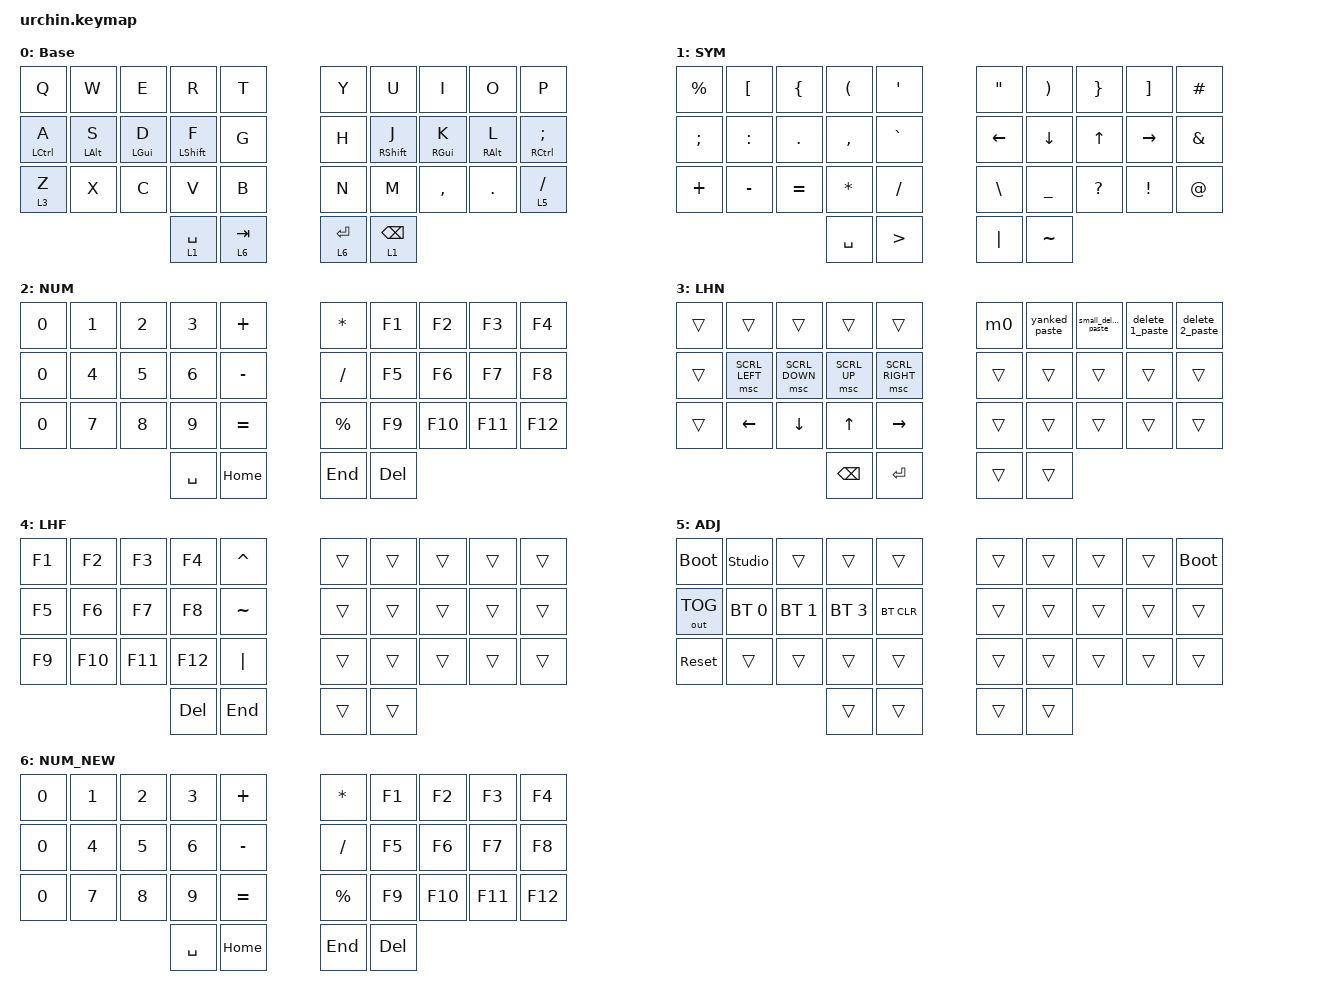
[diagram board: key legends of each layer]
/*
 * Copyright (c) 2020 duckyb
 *
 * SPDX-License-Identifier: MIT
 */

#include <behaviors.dtsi>
#include <dt-bindings/zmk/bt.h>
#include <dt-bindings/zmk/keys.h>
#include <dt-bindings/zmk/outputs.h>
#include <dt-bindings/zmk/pointing.h>
#include "keymap_italian.h"

// Layer definitions

#define BASE 0
#define SYM 1
#define EXT 2
#define FNC 3
#define SYM2 4
#define ACCENT 5
#define SETTINGS 6

// -----------------

&sk {
    release-after-ms = <4000>;
    quick-release;
};

&mt {
    tapping-term-ms = <170>;
    quick-tap-ms = <170>;
    require-prior-idle-ms = <100>;
    flavor = "balanced";
};

&lt {
    tapping-term-ms = <170>;
    quick-tap-ms = <170>;
    require-prior-idle-ms = <100>;
    flavor = "balanced";
};

&sl { release-after-ms = <4000>; };

/ {
    behaviors {
        // Enables holding the first mod-tap key
        // by performing a tap-release-hold sequence.
        // To use it: "&qt KEYCODE1 KEYCODE2"
    };

    macros {
        // sometimes my device thinks a modifier is being held down
        // pressing all modifiers fixes it.

        m0: m0 {
            compatible = "zmk,behavior-macro";
            #binding-cells = <0>;
            bindings = <&kp N5 &kp N7 &kp N3 &kp N8 &kp N6 &kp N0 &kp CARET &kp LS(K) &kp O &kp L &kp A>;
            label = "M0";
        };

        yanked_paste: yanked_paste {
            compatible = "zmk,behavior-macro";
            #binding-cells = <0>;
            bindings = <&kp DQT &kp N0 &kp P>;
            label = "YANKED_PASTE";
        };

        small_delete_paste: small_delete_paste {
            compatible = "zmk,behavior-macro";
            #binding-cells = <0>;
            bindings = <&kp DQT &kp MINUS &kp P>;
            label = "SMALL_DELETE_PASTE";
        };

        delete_1_paste: delete_1_paste {
            compatible = "zmk,behavior-macro";
            #binding-cells = <0>;
            bindings = <&kp DQT &kp N1 &kp P>;
            label = "DELETE_1_PASTE";
        };

        delete_2_paste: delete_2_paste {
            compatible = "zmk,behavior-macro";
            #binding-cells = <0>;
            bindings = <&kp DQT &kp N2 &kp P>;
            label = "DELETE_2_PASTE";
        };
    };

    combos {
        compatible = "zmk,combos";

        // both right thumb keys
        // internal-left & external-right thumb keys
        // both left thumb keys
        // left index & middle fingers (home-row)
        // hold control & space for Adobe workflow

        c0 {
            bindings = <&kp LCTRL>;
            key-positions = <10 19>;
            timeout-ms = <40>;
            require-prior-idle-ms = <50>;
        };

        c1 {
            bindings = <&kp LEFT_ALT>;
            key-positions = <11 18>;
            timeout-ms = <40>;
            require-prior-idle-ms = <50>;
        };

        c2 {
            bindings = <&kp LWIN>;
            key-positions = <12 17>;
            timeout-ms = <40>;
            require-prior-idle-ms = <50>;
        };

        c3 {
            bindings = <&kp LSHIFT>;
            key-positions = <13 16>;
            timeout-ms = <40>;
            require-prior-idle-ms = <50>;
        };

        c4 {
            bindings = <&kp PRINTSCREEN>;
            key-positions = <0 9>;
            require-prior-idle-ms = <50>;
        };

        c5 {
            bindings = <&kp ESCAPE>;
            key-positions = <2 3>;
            timeout-ms = <25>;
            require-prior-idle-ms = <50>;
        };

        c6 {
            bindings = <&sk LSHIFT>;
            key-positions = <2 13>;
            timeout-ms = <30>;
            require-prior-idle-ms = <50>;
        };

        c7 {
            bindings = <&kp CARET>;
            key-positions = <6 7>;
            timeout-ms = <25>;
            require-prior-idle-ms = <50>;
        };

        c8 {
            bindings = <&kp DOLLAR>;
            key-positions = <7 8>;
            timeout-ms = <25>;
            require-prior-idle-ms = <50>;
        };

        c9 {
            bindings = <&kp PAGE_UP>;
            key-positions = <3 4>;
            timeout-ms = <40>;
            require-prior-idle-ms = <50>;
        };

        c10 {
            bindings = <&sk RSHIFT>;
            key-positions = <7 16>;
            timeout-ms = <30>;
            require-prior-idle-ms = <50>;
        };

        c11 {
            bindings = <&sl 1>;
            key-positions = <26 27>;
            timeout-ms = <30>;
            require-prior-idle-ms = <50>;
        };

        c12 {
            bindings = <&sl 6>;
            key-positions = <27 28>;
            timeout-ms = <30>;
            require-prior-idle-ms = <60>;
        };

        c13 {
            bindings = <&sl 1>;
            key-positions = <22 23>;
            timeout-ms = <30>;
            require-prior-idle-ms = <50>;
        };

        c14 {
            bindings = <&sl 6>;
            key-positions = <21 22>;
            timeout-ms = <30>;
            require-prior-idle-ms = <50>;
        };

        c15 {
            bindings = <&kp CAPSLOCK>;
            key-positions = <1 2>;
            timeout-ms = <25>;
            require-prior-idle-ms = <50>;
        };

        c16 {
            bindings = <&sl 4>;
            key-positions = <30 31>;
            timeout-ms = <60>;
        };

        c17 {
            bindings = <&kp LSHIFT>;
            key-positions = <32 33>;
            timeout-ms = <60>;
        };

        c18 {
            bindings = <&kp PAGE_DOWN>;
            key-positions = <14 13>;
            timeout-ms = <35>;
            require-prior-idle-ms = <50>;
        };

        c19 {
            bindings = <&kp DOLLAR>;
            key-positions = <14 24>;
            layers = <4>;
            timeout-ms = <60>;
            require-prior-idle-ms = <60>;
        };

        c20 {
            bindings = <&kp LESS_THAN>;
            key-positions = <23 30>;
            layers = <1>;
        };

        c21 {
            bindings = <&kp INSERT>;
            key-positions = <23 30>;
            layers = <6>;
        };

        c22 {
            bindings = <&kp BSPC>;
            key-positions = <16 25>;
            timeout-ms = <30>;
            require-prior-idle-ms = <50>;
        };

        c23 {
            bindings = <&kp LC(SPACE)>;
            key-positions = <10 30>;
            timeout-ms = <35>;
            require-prior-idle-ms = <50>;
        };
    };

    keymap {
        compatible = "zmk,keymap";

        // Base alpha layer

        default_layer {
            label = "Base";
            bindings = <
&kp Q        &kp W       &kp E       &kp R         &kp T      &kp Y        &kp U            &kp I       &kp O       &kp P
&mt LCTRL A  &mt LALT S  &mt LGUI D  &mt LSHIFT F  &kp G      &kp H        &mt RSHIFT J     &mt RGUI K  &mt RALT L  &mt RCTRL SEMICOLON
&lt 3 Z      &kp X       &kp C       &kp V         &kp B      &kp N        &kp M            &kp COMMA   &kp DOT     &lt 5 SLASH
                                     &lt 1 SPACE   &lt 6 TAB  &lt 6 ENTER  &lt 1 BACKSPACE
            >;
        };

        // Numbers and high frequency symbols

        sym_layer {
            label = "SYM";
            bindings = <
&kp PERCENT    &kp LEFT_BRACKET  &kp LEFT_BRACE  &kp LEFT_PARENTHESIS  &kp SQT           &kp DOUBLE_QUOTES  &kp RIGHT_PARENTHESIS  &kp RIGHT_BRACE  &kp RIGHT_BRACKET  &kp HASH
&kp SEMICOLON  &kp COLON         &kp PERIOD      &kp COMMA             &kp GRAVE         &kp LEFT           &kp DOWN               &kp UP           &kp RIGHT          &kp AMPERSAND
&kp PLUS       &kp MINUS         &kp EQUAL       &kp ASTERISK          &kp SLASH         &kp BACKSLASH      &kp UNDERSCORE         &kp QUESTION     &kp EXCLAMATION    &kp AT_SIGN
                                                 &kp SPACE             &kp GREATER_THAN  &kp PIPE           &kp TILDE
            >;
        };

        // Main modifiers and arrow keys

        num_layer {
            label = "NUM";
            bindings = <
&kp N0  &kp NUMBER_1  &kp NUMBER_2  &kp NUMBER_3  &kp PLUS   &kp ASTERISK  &kp F1      &kp F2   &kp F3   &kp F4
&kp N0  &kp NUMBER_4  &kp NUMBER_5  &kp NUMBER_6  &kp MINUS  &kp SLASH     &kp F5      &kp F6   &kp F7   &kp F8
&kp N0  &kp NUMBER_7  &kp NUMBER_8  &kp NUMBER_9  &kp EQUAL  &kp PERCENT   &kp F9      &kp F10  &kp F11  &kp F12
                                    &kp SPACE     &kp HOME   &kp END       &kp DELETE
            >;
        };

        // Function keys with modifiers

        left_hand_nav {
            label = "LHN";
            bindings = <
&trans  &trans          &trans          &trans         &trans           &m0     &yanked_paste  &small_delete_paste  &delete_1_paste  &delete_2_paste
&trans  &msc SCRL_LEFT  &msc SCRL_DOWN  &msc SCRL_UP   &msc SCRL_RIGHT  &trans  &trans         &trans               &trans           &trans
&trans  &kp LEFT        &kp DOWN        &kp UP         &kp RIGHT        &trans  &trans         &trans               &trans           &trans
                                        &kp BACKSPACE  &kp ENTER        &trans  &trans
            >;
        };

        // Low frequency symbols.

        left_hand_f {
            label = "LHF";
            bindings = <
&kp F1  &kp F2   &kp F3   &kp F4      &kp CARET  &trans  &trans  &trans  &trans  &trans
&kp F5  &kp F6   &kp F7   &kp F8      &kp TILDE  &trans  &trans  &trans  &trans  &trans
&kp F9  &kp F10  &kp F11  &kp F12     &kp PIPE   &trans  &trans  &trans  &trans  &trans
                          &kp DELETE  &kp END    &trans  &trans
            >;
        };

        // Used to type regional accents.

        adjust_layer {
            label = "ADJ";
            bindings = <
&bootloader   &studio_unlock  &trans        &trans        &trans      &trans  &trans  &trans  &trans  &bootloader
&out OUT_TOG  &bt BT_SEL 0    &bt BT_SEL 1  &bt BT_SEL 3  &bt BT_CLR  &trans  &trans  &trans  &trans  &trans
&sys_reset    &trans          &trans        &trans        &trans      &trans  &trans  &trans  &trans  &trans
                                            &trans        &trans      &trans  &trans
            >;
        };

        NUM_LAYER_WORKING {
            label = "NUM_NEW";
            bindings = <
&kp N0  &kp NUMBER_1  &kp NUMBER_2  &kp NUMBER_3  &kp PLUS   &kp ASTERISK  &kp F1      &kp F2   &kp F3   &kp F4
&kp N0  &kp NUMBER_4  &kp NUMBER_5  &kp NUMBER_6  &kp MINUS  &kp SLASH     &kp F5      &kp F6   &kp F7   &kp F8
&kp N0  &kp NUMBER_7  &kp NUMBER_8  &kp NUMBER_9  &kp EQUAL  &kp PERCENT   &kp F9      &kp F10  &kp F11  &kp F12
                                    &kp SPACE     &kp HOME   &kp END       &kp DELETE
            >;
        };

        // Used to change the keyboard's settings.
    };
};
